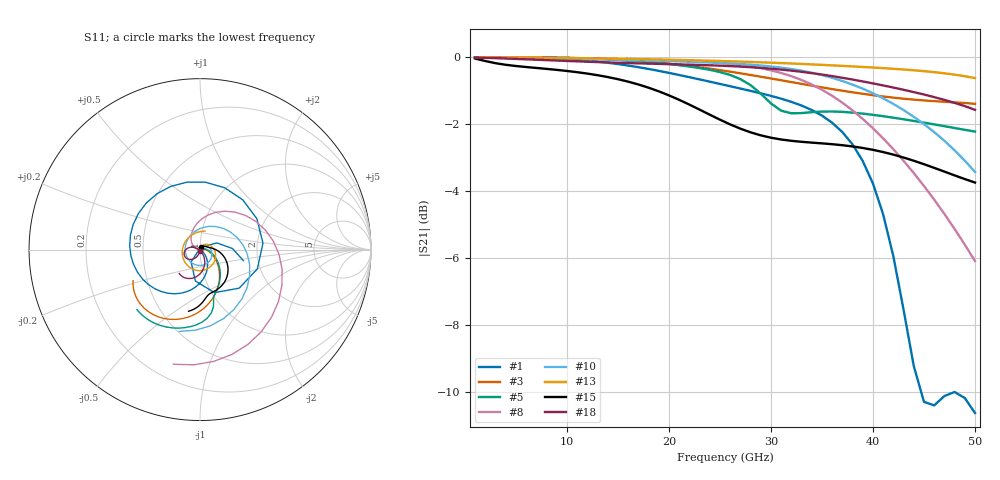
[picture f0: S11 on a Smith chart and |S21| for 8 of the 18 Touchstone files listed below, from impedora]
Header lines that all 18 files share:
! Ports: 1 = upper end, 2 = lower end, 50 ohm.
# Hz S RI R 50
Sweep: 1 GHz to 50 GHz
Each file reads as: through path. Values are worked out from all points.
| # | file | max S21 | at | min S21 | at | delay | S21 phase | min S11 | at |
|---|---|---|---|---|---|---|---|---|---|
| 1 | bd1.s2p | 0.00 dB | 1 GHz | -10.6 dB | 50 GHz | 17.9 ps | -162 deg at 26 GHz | -56.0 dB | 1 GHz |
| 2 | bl1.s2p | 0.00 dB | 1 GHz | -9.9 dB | 50 GHz | 17.7 ps | -155 deg at 26 GHz | -51.6 dB | 1 GHz |
| 3 | bl2.s2p | 0.00 dB | 1 GHz | -1.4 dB | 50 GHz | 10.8 ps | -102 deg at 26 GHz | -54.7 dB | 1 GHz |
| 4 | bl3.s2p | 0.00 dB | 1 GHz | -0.8 dB | 50 GHz | 10.1 ps | -95 deg at 26 GHz | -43.5 dB | 1 GHz |
| 5 | bl4.s2p | 0.00 dB | 1 GHz | -2.2 dB | 50 GHz | 10.5 ps | -105 deg at 26 GHz | -52.7 dB | 1 GHz |
| 6 | bl5.s2p | 0.00 dB | 1 GHz | -2.2 dB | 50 GHz | 12.6 ps | -113 deg at 26 GHz | -63.0 dB | 1 GHz |
| 7 | bl6.s2p | 0.00 dB | 1 GHz | -3.6 dB | 50 GHz | 16.2 ps | -139 deg at 26 GHz | -42.0 dB | 1 GHz |
| 8 | ms1.s2p | 0.00 dB | 1 GHz | -6.1 dB | 50 GHz | 19 ps | -170 deg at 26 GHz | -57.0 dB | 1 GHz |
| 9 | ms1a.s2p | 0.00 dB | 1 GHz | -8.9 dB | 50 GHz | 20.2 ps | 179 deg at 26 GHz | -40.4 dB | 1 GHz |
| 10 | ms1b.s2p | 0.00 dB | 1 GHz | -3.4 dB | 50 GHz | 18 ps | -163 deg at 26 GHz | -44.1 dB | 1 GHz |
| 11 | ms2.s2p | 0.00 dB | 1 GHz | -1.3 dB | 50 GHz | 13.4 ps | -121 deg at 26 GHz | -56.1 dB | 1 GHz |
| 12 | ms2a.s2p | 0.00 dB | 1 GHz | -2.4 dB | 50 GHz | 14.4 ps | -128 deg at 26 GHz | -41.5 dB | 1 GHz |
| 13 | ms2b.s2p | 0.00 dB | 1 GHz | -0.6 dB | 50 GHz | 12.7 ps | -117 deg at 26 GHz | -45.1 dB | 1 GHz |
| 14 | p2g0.s2p | -0.65 dB | 1 GHz | -3.9 dB | 50 GHz | 6.28 ps | -67 deg at 26 GHz | -22.8 dB | 1 GHz |
| 15 | p2g1.s2p | -0.04 dB | 1 GHz | -3.7 dB | 50 GHz | 6.65 ps | -72 deg at 26 GHz | -37.1 dB | 1 GHz |
| 16 | p2g2.s2p | -0.01 dB | 1 GHz | -4.3 dB | 50 GHz | 9.68 ps | -104 deg at 26 GHz | -45.7 dB | 1 GHz |
| 17 | p2g4.s2p | 0.00 dB | 1 GHz | -4.9 dB | 50 GHz | 8.38 ps | -72 deg at 26 GHz | -77.9 dB | 1 GHz |
| 18 | p4g4.s2p | -0.01 dB | 1 GHz | -1.6 dB | 50 GHz | 12.2 ps | -107 deg at 26 GHz | -45.9 dB | 30 GHz |
